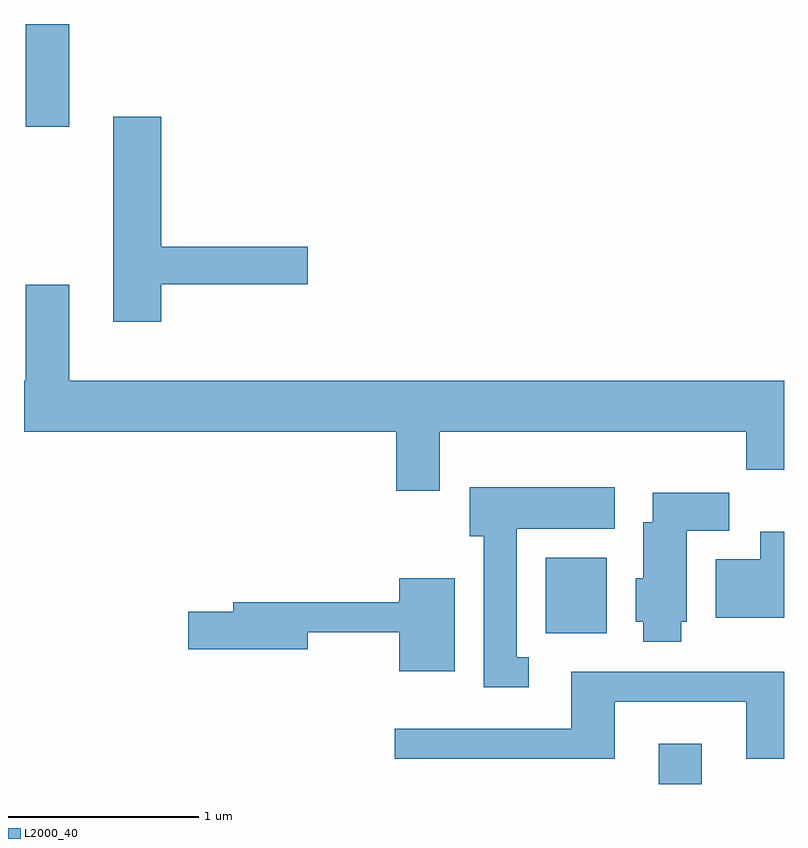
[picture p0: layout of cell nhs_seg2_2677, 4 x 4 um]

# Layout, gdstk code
import gdstk
lib = gdstk.Library(unit=1e-6, precision=1e-09)
def R(c, l, rs):  # rectangles x0, y0, x1, y1
    for r in rs: c.add(gdstk.rectangle(r[:2], r[2:], *l))
def P(c, l, *ps):  # polygons
    for p in ps: c.add(gdstk.Polygon(p, *l))
L2000_40 = (2000, 40)

nhs_seg2_2677 = lib.new_cell('nhs_seg2_2677')
R(nhs_seg2_2677, L2000_40, [(266.951,1039.802,267.179,1040.014), (266.356,1040.596,266.679,1040.994), (263.621,1043.261,263.849,1043.802)])
P(nhs_seg2_2677, L2000_40, [(264.334,1042.431),(265.104,1042.431),(265.104,1042.629),(264.334,1042.629),(264.334,1043.314),(264.081,1043.314),(264.081,1042.236),(264.334,1042.236)],
  [(265.799,1041.656),(267.411,1041.656),(267.411,1041.456),(267.611,1041.456),(267.611,1041.924),(263.849,1041.924),(263.849,1042.429),(263.621,1042.429),(263.621,1041.924),(263.611,1041.924),(263.611,1041.656),(265.571,1041.656),(265.571,1041.346),(265.799,1041.346)],
  [(266.268,1040.469),(266.204,1040.469),(266.204,1041.146),(266.719,1041.146),(266.719,1041.364),(265.956,1041.364),(265.956,1041.106),(266.031,1041.106),(266.031,1040.311),(266.268,1040.311)],
  [(267.069,1040.656),(267.099,1040.656),(267.099,1041.136),(267.324,1041.136),(267.324,1041.334),(266.921,1041.334),(266.921,1041.179),(266.871,1041.179),(266.871,1040.884),(266.831,1040.884),(266.831,1040.656),(266.871,1040.656),(266.871,1040.551),(267.069,1040.551)],
  [(267.611,1041.129),(267.486,1041.129),(267.486,1040.984),(267.251,1040.984),(267.251,1040.676),(267.611,1040.676)],
  [(265.879,1040.884),(265.586,1040.884),(265.586,1040.759),(264.711,1040.759),(264.711,1040.709),(264.476,1040.709),(264.476,1040.511),(265.104,1040.511),(265.104,1040.601),(265.586,1040.601),(265.586,1040.396),(265.879,1040.396)],
  [(266.719,1040.236),(267.411,1040.236),(267.411,1039.936),(267.611,1039.936),(267.611,1040.394),(266.491,1040.394),(266.491,1040.094),(265.563,1040.094),(265.563,1039.936),(266.719,1039.936)])

lib.write_gds('nhs_seg2_2677.gds')
